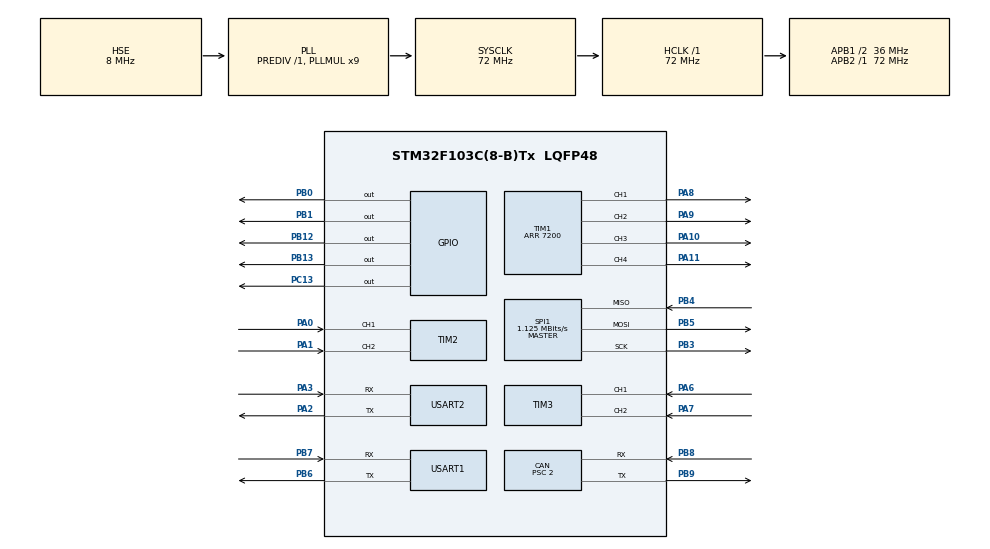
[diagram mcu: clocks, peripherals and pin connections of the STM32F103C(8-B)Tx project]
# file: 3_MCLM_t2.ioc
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CAN.ABOM=ENABLE
CAN.BS1=CAN_BS1_13TQ
CAN.BS2=CAN_BS2_4TQ
CAN.CalculateBaudRate=1000000
CAN.CalculateTimeBit=1000
CAN.CalculateTimeQuantum=55.55555555555556
CAN.NART=ENABLE
CAN.Prescaler=2
CAN.TXFP=ENABLE
Dma.Request0=USART1_RX
Dma.Request1=USART1_TX
Dma.Request2=USART2_RX
Dma.Request3=USART2_TX
Dma.USART1_RX.0.Direction=DMA_PERIPH_TO_MEMORY
Dma.USART1_RX.0.Instance=DMA1_Channel5
Dma.USART1_RX.0.MemDataAlignment=DMA_MDATAALIGN_BYTE
Dma.USART1_RX.0.MemInc=DMA_MINC_ENABLE
Dma.USART1_RX.0.Mode=DMA_NORMAL
Dma.USART1_RX.0.PeriphDataAlignment=DMA_PDATAALIGN_BYTE
Dma.USART1_RX.0.PeriphInc=DMA_PINC_DISABLE
Dma.USART1_RX.0.Priority=DMA_PRIORITY_HIGH
Dma.USART1_TX.1.Direction=DMA_MEMORY_TO_PERIPH
Dma.USART1_TX.1.Instance=DMA1_Channel4
Dma.USART1_TX.1.MemDataAlignment=DMA_MDATAALIGN_BYTE
Dma.USART1_TX.1.MemInc=DMA_MINC_ENABLE
Dma.USART1_TX.1.Mode=DMA_NORMAL
Dma.USART1_TX.1.PeriphDataAlignment=DMA_PDATAALIGN_BYTE
Dma.USART1_TX.1.PeriphInc=DMA_PINC_DISABLE
Dma.USART1_TX.1.Priority=DMA_PRIORITY_HIGH
Dma.USART2_RX.2.Direction=DMA_PERIPH_TO_MEMORY
Dma.USART2_RX.2.Instance=DMA1_Channel6
Dma.USART2_RX.2.MemDataAlignment=DMA_MDATAALIGN_BYTE
Dma.USART2_RX.2.MemInc=DMA_MINC_ENABLE
Dma.USART2_RX.2.Mode=DMA_NORMAL
Dma.USART2_RX.2.PeriphDataAlignment=DMA_PDATAALIGN_BYTE
Dma.USART2_RX.2.PeriphInc=DMA_PINC_DISABLE
Dma.USART2_RX.2.Priority=DMA_PRIORITY_MEDIUM
Dma.USART2_TX.3.Direction=DMA_MEMORY_TO_PERIPH
Dma.USART2_TX.3.Instance=DMA1_Channel7
Dma.USART2_TX.3.MemDataAlignment=DMA_MDATAALIGN_BYTE
Dma.USART2_TX.3.MemInc=DMA_MINC_ENABLE
Dma.USART2_TX.3.Mode=DMA_NORMAL
Dma.USART2_TX.3.PeriphDataAlignment=DMA_PDATAALIGN_BYTE
Dma.USART2_TX.3.PeriphInc=DMA_PINC_DISABLE
Dma.USART2_TX.3.Priority=DMA_PRIORITY_MEDIUM
FREERTOS.BinarySemaphores01=uart_rx_semaphore,Static,uart_rx_semaphoreControlBlock,Available;can_rx_semaphore,Static,can_rx_semaphoreControlBlock,Available;uart1_dma_sem,Dynamic,NULL,Available
FREERTOS.Mutexes01=motor0_mutex,Dynamic,NULL,Available;motor1_mutex,Dynamic,NULL,Available
FREERTOS.Queues01=CommandQueue,72,CommandMsg_t,0,Dynamic,NULL,NULL;MotorQueue,72,CommandMsg_t,0,Dynamic,NULL,NULL;AckQueue,64,AckMsg_t,0,Dynamic,NULL,NULL;MotorQueue1,72,CommandMsg_t,0,Dynamic,NULL,NULL;LogQueue,4,LogMotorData_t,0,Dynamic,NULL,NULL
FREERTOS.Tasks01=Heartbeat_Ta,9,64,Start_Heartbeat,Default,NULL,Static,Heartbeat_TaBuffer,Heartbeat_TaControlBlock;MotorControl_Ta,33,64,Start_MotorControl,Default,&g_motors[0],Static,MotorControl_TaBuffer,MotorControl_TaControlBlock;Encoder_Ta,34,64,Start_Encoder,Default,&g_motors[0],Static,Encoder_TaBuffer,Encoder_TaControlBlock;Logger_Ta,8,512,Start_Logger,Default,NULL,Static,Logger_TaBuffer,Logger_TaControlBlock;Command_Ta,16,128,Start_Command,Default,NULL,Static,Command_TaBuffer,Command_TaControlBlock;Ack_Ta,9,256,Start_Ack,Default,NULL,Static,Ack_TaBuffer,Ack_TaControlBlock;MotorControl1_T,33,64,Start_MotorControl1_T,Default,&g_motors[1],Static,MotorControl1_TBuffer,MotorControl1_TControlBlock;Encoder1_T,34,64,Start_Encoder1_T,Default,&g_motors[1],Static,Encoder1_TBuffer,Encoder1_TControlBlock
FREERTOS.configCHECK_FOR_STACK_OVERFLOW=2
FREERTOS.configGENERATE_RUN_TIME_STATS=1
FREERTOS.configMAX_TASK_NAME_LEN=24
FREERTOS.configMINIMAL_STACK_SIZE=64
FREERTOS.configUSE_DAEMON_TASK_STARTUP_HOOK=0
FREERTOS.configUSE_MALLOC_FAILED_HOOK=1
FREERTOS.configUSE_MINI_LIST_ITEM=0
FREERTOS.configUSE_STATS_FORMATTING_FUNCTIONS=1
Mcu.Family=STM32F1
Mcu.Name=STM32F103C(8-B)Tx
Mcu.Package=LQFP48
NVIC.DMA1_Channel4_IRQn=true\:5\:0\:false\:false\:true\:true\:false\:true\:true
NVIC.DMA1_Channel5_IRQn=true\:5\:0\:false\:false\:true\:true\:false\:true\:true
NVIC.DMA1_Channel6_IRQn=true\:5\:0\:false\:false\:true\:true\:false\:true\:true
NVIC.DMA1_Channel7_IRQn=true\:5\:0\:false\:false\:true\:true\:false\:true\:true
NVIC.PriorityGroup=NVIC_PRIORITYGROUP_4
NVIC.TIM4_IRQn=true\:15\:0\:false\:false\:true\:false\:false\:true\:true
NVIC.TimeBase=TIM4_IRQn
NVIC.TimeBaseIP=TIM4
NVIC.USART1_IRQn=true\:5\:0\:false\:false\:true\:true\:true\:true\:true
NVIC.USART2_IRQn=true\:5\:0\:false\:false\:true\:true\:true\:true\:true
NVIC.USB_LP_CAN1_RX0_IRQn=true\:5\:0\:false\:false\:true\:true\:true\:true\:true
PA0-WKUP.Signal=S_TIM2_CH1_ETR
PA1.Signal=S_TIM2_CH2
PA10.Signal=S_TIM1_CH3
PA11.Signal=S_TIM1_CH4
PA13.Mode=Serial_Wire
PA13.Signal=SYS_JTMS-SWDIO
PA14.Mode=Serial_Wire
PA14.Signal=SYS_JTCK-SWCLK
PA2.Mode=Asynchronous
PA2.Signal=USART2_TX
PA3.Mode=Asynchronous
PA3.Signal=USART2_RX
PA6.Signal=S_TIM3_CH1
PA7.Signal=S_TIM3_CH2
PA8.Signal=S_TIM1_CH1
PA9.Signal=S_TIM1_CH2
PB0.PinState=GPIO_PIN_SET
PB0.Signal=GPIO_Output
PB1.PinState=GPIO_PIN_SET
PB1.Signal=GPIO_Output
PB10.Signal=USART3_TX
PB11.Signal=USART3_RX
PB12.PinState=GPIO_PIN_SET
PB12.Signal=GPIO_Output
PB13.PinState=GPIO_PIN_SET
PB13.Signal=GPIO_Output
PB3.Mode=Full_Duplex_Master
PB3.Signal=SPI1_SCK
PB4.Mode=Full_Duplex_Master
PB4.Signal=SPI1_MISO
PB5.Mode=Full_Duplex_Master
PB5.Signal=SPI1_MOSI
PB6.Mode=Asynchronous
PB6.Signal=USART1_TX
PB7.Mode=Asynchronous
PB7.Signal=USART1_RX
PB8.Mode=CAN_Activate
PB8.Signal=CAN_RX
PB9.Mode=CAN_Activate
PB9.Signal=CAN_TX
PC13-TAMPER-RTC.Signal=GPIO_Output
PD0-OSC_IN.Mode=HSE-External-Oscillator
PD0-OSC_IN.Signal=RCC_OSC_IN
PD1-OSC_OUT.Mode=HSE-External-Oscillator
PD1-OSC_OUT.Signal=RCC_OSC_OUT
ProjectManager.HeapSize=0x200
ProjectManager.StackSize=0x800
ProjectManager.TargetToolchain=CMake
RCC.AHBFreq_Value=72000000
RCC.APB1CLKDivider=RCC_HCLK_DIV2
RCC.APB1Freq_Value=36000000
RCC.APB1TimFreq_Value=72000000
RCC.APB2Freq_Value=72000000
RCC.APB2TimFreq_Value=72000000
RCC.EnbaleCSS=true
RCC.HCLKFreq_Value=72000000
RCC.PLLMUL=RCC_PLL_MUL9
RCC.PLLSourceVirtual=RCC_PLLSOURCE_HSE
RCC.SYSCLKFreq_VALUE=72000000
RCC.SYSCLKSource=RCC_SYSCLKSOURCE_PLLCLK
RCC.USBFreq_Value=72000000
SH.S_TIM1_CH1.0=TIM1_CH1,PWM Generation1 CH1
SH.S_TIM1_CH2.0=TIM1_CH2,PWM Generation2 CH2
SH.S_TIM1_CH3.0=TIM1_CH3,PWM Generation3 CH3
SH.S_TIM1_CH4.0=TIM1_CH4,PWM Generation4 CH4
SH.S_TIM2_CH1_ETR.0=TIM2_CH1,Encoder_Interface
SH.S_TIM2_CH2.0=TIM2_CH2,Encoder_Interface
SH.S_TIM3_CH1.0=TIM3_CH1,Encoder_Interface
SH.S_TIM3_CH2.0=TIM3_CH2,Encoder_Interface
SPI1.BaudRatePrescaler=SPI_BAUDRATEPRESCALER_64
SPI1.CLKPhase=SPI_PHASE_2EDGE
SPI1.CalculateBaudRate=1.125 MBits/s
SPI1.Direction=SPI_DIRECTION_2LINES
SPI1.Mode=SPI_MODE_MASTER
SPI1.VirtualType=VM_MASTER
TIM1.Channel-PWM\ Generation1\ CH1=TIM_CHANNEL_1
TIM1.Channel-PWM\ Generation2\ CH2=TIM_CHANNEL_2
TIM1.Channel-PWM\ Generation3\ CH3=TIM_CHANNEL_3
TIM1.Channel-PWM\ Generation4\ CH4=TIM_CHANNEL_4
TIM1.Period=7200
TIM2.EncoderMode=TIM_ENCODERMODE_TI12
TIM2.IC1Filter=8
TIM2.IC2Filter=8
TIM3.EncoderMode=TIM_ENCODERMODE_TI12
TIM3.IC1Filter=8
TIM3.IC2Filter=8
USART1.VirtualMode=VM_ASYNC
USART2.VirtualMode=VM_ASYNC
VP_FREERTOS_VS_CMSIS_V2.Mode=CMSIS_V2
VP_SYS_VS_tim4.Mode=TIM4
board=custom

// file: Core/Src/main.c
/* USER CODE BEGIN Header */
/**
  ******************************************************************************
  * @file           : main.c
  * @brief          : Main program body
  ******************************************************************************
  * @attention
  *
  * Copyright (c) 2026 STMicroelectronics.
  * All rights reserved.
  *
  * This software is licensed under terms that can be found in the LICENSE file
  * in the root directory of this software component.
  * If no LICENSE file comes with this software, it is provided AS-IS.
  *
  ******************************************************************************
  */
/* USER CODE END Header */
#include "main.h"
#include "cmsis_os.h"
#include "can.h"
#include "dma.h"
#include "spi.h"
#include "tim.h"
#include "usart.h"
#include "gpio.h"

void SystemClock_Config(void);
void MX_FREERTOS_Init(void);

int main(void)
{

  /* MCU Configuration--------------------------------------------------------*/

  /* Reset of all peripherals, Initializes the Flash interface and the Systick. */
  HAL_Init();

  /* Configure the system clock */
  SystemClock_Config();

  /* Initialize all configured peripherals */
  MX_GPIO_Init();
  MX_DMA_Init();
  MX_CAN_Init();
  MX_USART1_UART_Init();
  MX_USART2_UART_Init();
  MX_TIM2_Init();
  MX_TIM3_Init();
  MX_TIM1_Init();
  MX_SPI1_Init();

  /* Init scheduler */
  osKernelInitialize();  /* Call init function for freertos objects (in cmsis_os2.c) */
  MX_FREERTOS_Init();

  /* Start scheduler */
  osKernelStart();

  /* We should never get here as control is now taken by the scheduler */

  /* Infinite loop */
  while (1)
  {

  }
}

void SystemClock_Config(void)
{
  RCC_OscInitTypeDef RCC_OscInitStruct = {0};
  RCC_ClkInitTypeDef RCC_ClkInitStruct = {0};

  /** Initializes the RCC Oscillators according to the specified parameters
  * in the RCC_OscInitTypeDef structure.
  */
  RCC_OscInitStruct.OscillatorType = RCC_OSCILLATORTYPE_HSE;
  RCC_OscInitStruct.HSEState = RCC_HSE_ON;
  RCC_OscInitStruct.HSEPredivValue = RCC_HSE_PREDIV_DIV1;
  RCC_OscInitStruct.HSIState = RCC_HSI_ON;
  RCC_OscInitStruct.PLL.PLLState = RCC_PLL_ON;
  RCC_OscInitStruct.PLL.PLLSource = RCC_PLLSOURCE_HSE;
  RCC_OscInitStruct.PLL.PLLMUL = RCC_PLL_MUL9;
  if (HAL_RCC_OscConfig(&RCC_OscInitStruct) != HAL_OK)
  {
    Error_Handler();
  }

  /** Initializes the CPU, AHB and APB buses clocks
  */
  RCC_ClkInitStruct.ClockType = RCC_CLOCKTYPE_HCLK|RCC_CLOCKTYPE_SYSCLK
                              |RCC_CLOCKTYPE_PCLK1|RCC_CLOCKTYPE_PCLK2;
  RCC_ClkInitStruct.SYSCLKSource = RCC_SYSCLKSOURCE_PLLCLK;
  RCC_ClkInitStruct.AHBCLKDivider = RCC_SYSCLK_DIV1;
  RCC_ClkInitStruct.APB1CLKDivider = RCC_HCLK_DIV2;
  RCC_ClkInitStruct.APB2CLKDivider = RCC_HCLK_DIV1;

  if (HAL_RCC_ClockConfig(&RCC_ClkInitStruct, FLASH_LATENCY_2) != HAL_OK)
  {
    Error_Handler();
  }

  /** Enables the Clock Security System
  */
  HAL_RCC_EnableCSS();
}

void HAL_TIM_PeriodElapsedCallback(TIM_HandleTypeDef *htim)
{
  if (htim->Instance == TIM4)
  {
    HAL_IncTick();
  }
}

void Error_Handler(void)
{
  __disable_irq();
  while (1)
  {
  }
}

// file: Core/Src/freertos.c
/* USER CODE BEGIN Header */
/**
  ******************************************************************************
  * File Name          : freertos.c
  * Description        : Code for freertos applications
  ******************************************************************************
  * @attention
  *
  * Copyright (c) 2026 STMicroelectronics.
  * All rights reserved.
  *
  * This software is licensed under terms that can be found in the LICENSE file
  * in the root directory of this software component.
  * If no LICENSE file comes with this software, it is provided AS-IS.
  *
  ******************************************************************************
  */
/* USER CODE END Header */

#include "FreeRTOS.h"
#include "task.h"
#include "main.h"
#include "cmsis_os.h"

/* USER CODE BEGIN Includes */

#include "app_task.h"
#include "app_globals.h"
#include "command.h"
#include "app_config.h"

/* USER CODE END Includes */

typedef StaticTask_t osStaticThreadDef_t;
typedef StaticSemaphore_t osStaticSemaphoreDef_t;

/* Definitions for Heartbeat_Ta */
osThreadId_t Heartbeat_TaHandle;
uint32_t Heartbeat_TaBuffer[ 64 ];
osStaticThreadDef_t Heartbeat_TaControlBlock;
const osThreadAttr_t Heartbeat_Ta_attributes = {
  .name = "Heartbeat_Ta",
  .cb_mem = &Heartbeat_TaControlBlock,
  .cb_size = sizeof(Heartbeat_TaControlBlock),
  .stack_mem = &Heartbeat_TaBuffer[0],
  .stack_size = sizeof(Heartbeat_TaBuffer),
  .priority = (osPriority_t) osPriorityLow1,
};
/* Definitions for MotorControl_Ta */
osThreadId_t MotorControl_TaHandle;
uint32_t MotorControl_TaBuffer[ 64 ];
osStaticThreadDef_t MotorControl_TaControlBlock;
const osThreadAttr_t MotorControl_Ta_attributes = {
  .name = "MotorControl_Ta",
  .cb_mem = &MotorControl_TaControlBlock,
  .cb_size = sizeof(MotorControl_TaControlBlock),
  .stack_mem = &MotorControl_TaBuffer[0],
  .stack_size = sizeof(MotorControl_TaBuffer),
  .priority = (osPriority_t) osPriorityAboveNormal1,
};
/* Definitions for Encoder_Ta */
osThreadId_t Encoder_TaHandle;
uint32_t Encoder_TaBuffer[ 64 ];
osStaticThreadDef_t Encoder_TaControlBlock;
const osThreadAttr_t Encoder_Ta_attributes = {
  .name = "Encoder_Ta",
  .cb_mem = &Encoder_TaControlBlock,
  .cb_size = sizeof(Encoder_TaControlBlock),
  .stack_mem = &Encoder_TaBuffer[0],
  .stack_size = sizeof(Encoder_TaBuffer),
  .priority = (osPriority_t) osPriorityAboveNormal2,
};
/* Definitions for Logger_Ta */
osThreadId_t Logger_TaHandle;
uint32_t Logger_TaBuffer[ 512 ];
osStaticThreadDef_t Logger_TaControlBlock;
const osThreadAttr_t Logger_Ta_attributes = {
  .name = "Logger_Ta",
  .cb_mem = &Logger_TaControlBlock,
  .cb_size = sizeof(Logger_TaControlBlock),
  .stack_mem = &Logger_TaBuffer[0],
  .stack_size = sizeof(Logger_TaBuffer),
  .priority = (osPriority_t) osPriorityLow,
};
/* Definitions for Command_Ta */
osThreadId_t Command_TaHandle;
uint32_t Command_TaBuffer[ 128 ];
osStaticThreadDef_t Command_TaControlBlock;
const osThreadAttr_t Command_Ta_attributes = {
  .name = "Command_Ta",
  .cb_mem = &Command_TaControlBlock,
  .cb_size = sizeof(Command_TaControlBlock),
  .stack_mem = &Command_TaBuffer[0],
  .stack_size = sizeof(Command_TaBuffer),
  .priority = (osPriority_t) osPriorityBelowNormal,
};
/* Definitions for Ack_Ta */
osThreadId_t Ack_TaHandle;
uint32_t Ack_TaBuffer[ 256 ];
osStaticThreadDef_t Ack_TaControlBlock;
const osThreadAttr_t Ack_Ta_attributes = {
  .name = "Ack_Ta",
  .cb_mem = &Ack_TaControlBlock,
  .cb_size = sizeof(Ack_TaControlBlock),
  .stack_mem = &Ack_TaBuffer[0],
  .stack_size = sizeof(Ack_TaBuffer),
  .priority = (osPriority_t) osPriorityLow1,
};
/* Definitions for MotorControl1_T */
osThreadId_t MotorControl1_THandle;
uint32_t MotorControl1_TBuffer[ 64 ];
osStaticThreadDef_t MotorControl1_TControlBlock;
const osThreadAttr_t MotorControl1_T_attributes = {
  .name = "MotorControl1_T",
  .cb_mem = &MotorControl1_TControlBlock,
  .cb_size = sizeof(MotorControl1_TControlBlock),
  .stack_mem = &MotorControl1_TBuffer[0],
  .stack_size = sizeof(MotorControl1_TBuffer),
  .priority = (osPriority_t) osPriorityAboveNormal1,
};
/* Definitions for Encoder1_T */
osThreadId_t Encoder1_THandle;
uint32_t Encoder1_TBuffer[ 64 ];
osStaticThreadDef_t Encoder1_TControlBlock;
const osThreadAttr_t Encoder1_T_attributes = {
  .name = "Encoder1_T",
  .cb_mem = &Encoder1_TControlBlock,
  .cb_size = sizeof(Encoder1_TControlBlock),
  .stack_mem = &Encoder1_TBuffer[0],
  .stack_size = sizeof(Encoder1_TBuffer),
  .priority = (osPriority_t) osPriorityAboveNormal2,
};
/* Definitions for CommandQueue */
osMessageQueueId_t CommandQueueHandle;
const osMessageQueueAttr_t CommandQueue_attributes = {
  .name = "CommandQueue"
};
/* Definitions for MotorQueue */
osMessageQueueId_t MotorQueueHandle;
const osMessageQueueAttr_t MotorQueue_attributes = {
  .name = "MotorQueue"
};
/* Definitions for AckQueue */
osMessageQueueId_t AckQueueHandle;
const osMessageQueueAttr_t AckQueue_attributes = {
  .name = "AckQueue"
};
/* Definitions for MotorQueue1 */
osMessageQueueId_t MotorQueue1Handle;
const osMessageQueueAttr_t MotorQueue1_attributes = {
  .name = "MotorQueue1"
};
/* Definitions for LogQueue */
osMessageQueueId_t LogQueueHandle;
const osMessageQueueAttr_t LogQueue_attributes = {
  .name = "LogQueue"
};
/* Definitions for motor0_mutex */
osMutexId_t motor0_mutexHandle;
const osMutexAttr_t motor0_mutex_attributes = {
  .name = "motor0_mutex"
};
/* Definitions for motor1_mutex */
osMutexId_t motor1_mutexHandle;
const osMutexAttr_t motor1_mutex_attributes = {
  .name = "motor1_mutex"
};
/* Definitions for uart_rx_semaphore */
osSemaphoreId_t uart_rx_semaphoreHandle;
osStaticSemaphoreDef_t uart_rx_semaphoreControlBlock;
const osSemaphoreAttr_t uart_rx_semaphore_attributes = {
  .name = "uart_rx_semaphore",
  .cb_mem = &uart_rx_semaphoreControlBlock,
  .cb_size = sizeof(uart_rx_semaphoreControlBlock),
};
/* Definitions for can_rx_semaphore */
osSemaphoreId_t can_rx_semaphoreHandle;
osStaticSemaphoreDef_t can_rx_semaphoreControlBlock;
const osSemaphoreAttr_t can_rx_semaphore_attributes = {
  .name = "can_rx_semaphore",
  .cb_mem = &can_rx_semaphoreControlBlock,
  .cb_size = sizeof(can_rx_semaphoreControlBlock),
};
/* Definitions for uart1_dma_sem */
osSemaphoreId_t uart1_dma_semHandle;
const osSemaphoreAttr_t uart1_dma_sem_attributes = {
  .name = "uart1_dma_sem"
};

void Start_Heartbeat(void *argument);
void Start_MotorControl(void *argument);
void Start_Encoder(void *argument);
void Start_Logger(void *argument);
void Start_Command(void *argument);
void Start_Ack(void *argument);
void Start_MotorControl1_T(void *argument);
void Start_Encoder1_T(void *argument);

void MX_FREERTOS_Init(void); /* (MISRA C 2004 rule 8.1) */

/* Hook prototypes */
void configureTimerForRunTimeStats(void);
unsigned long getRunTimeCounterValue(void);
void vApplicationStackOverflowHook(xTaskHandle xTask, signed char *pcTaskName);
void vApplicationMallocFailedHook(void);

/* USER CODE BEGIN 1 */
/* Functions needed when configGENERATE_RUN_TIME_STATS is on */
__weak void configureTimerForRunTimeStats(void)
{

}

__weak unsigned long getRunTimeCounterValue(void)
{
return 0;
}
/* USER CODE END 1 */

/* USER CODE BEGIN 4 */
void vApplicationStackOverflowHook(xTaskHandle xTask, signed char *pcTaskName)
{
   /* Run time stack overflow checking is performed if
   configCHECK_FOR_STACK_OVERFLOW is defined to 1 or 2. This hook function is
   called if a stack overflow is detected. */
}
/* USER CODE END 4 */

/* USER CODE BEGIN 5 */
void vApplicationMallocFailedHook(void)
{
   /* vApplicationMallocFailedHook() will only be called if
   configUSE_MALLOC_FAILED_HOOK is set to 1 in FreeRTOSConfig.h. It is a hook
   function that will get called if a call to pvPortMalloc() fails.
   pvPortMalloc() is called internally by the kernel whenever a task, queue,
   timer or semaphore is created. It is also called by various parts of the
   demo application. If heap_1.c or heap_2.c are used, then the size of the
   heap available to pvPortMalloc() is defined by configTOTAL_HEAP_SIZE in
   FreeRTOSConfig.h, and the xPortGetFreeHeapSize() API function can be used
   to query the size of free heap space that remains (although it does not
   provide information on how the remaining heap might be fragmented). */
}
/* USER CODE END 5 */

void MX_FREERTOS_Init(void) {
  /* Create the mutex(es) */
  /* creation of motor0_mutex */
  motor0_mutexHandle = osMutexNew(&motor0_mutex_attributes);

  /* creation of motor1_mutex */
  motor1_mutexHandle = osMutexNew(&motor1_mutex_attributes);

  /* Create the semaphores(s) */
  /* creation of uart_rx_semaphore */
  uart_rx_semaphoreHandle = osSemaphoreNew(1, 1, &uart_rx_semaphore_attributes);

  /* creation of can_rx_semaphore */
  can_rx_semaphoreHandle = osSemaphoreNew(1, 1, &can_rx_semaphore_attributes);

  /* creation of uart1_dma_sem */
  uart1_dma_semHandle = osSemaphoreNew(1, 1, &uart1_dma_sem_attributes);

  /* Create the queue(s) */
  /* creation of CommandQueue */
  CommandQueueHandle = osMessageQueueNew (72, sizeof(CommandMsg_t), &CommandQueue_attributes);

  /* creation of MotorQueue */
  MotorQueueHandle = osMessageQueueNew (72, sizeof(CommandMsg_t), &MotorQueue_attributes);

  /* creation of AckQueue */
  AckQueueHandle = osMessageQueueNew (64, sizeof(AckMsg_t), &AckQueue_attributes);

  /* creation of MotorQueue1 */
  MotorQueue1Handle = osMessageQueueNew (72, sizeof(CommandMsg_t), &MotorQueue1_attributes);

  /* creation of LogQueue */
  LogQueueHandle = osMessageQueueNew (4, sizeof(LogMotorData_t), &LogQueue_attributes);

  /* Create the thread(s) */
  /* creation of Heartbeat_Ta */
  Heartbeat_TaHandle = osThreadNew(Start_Heartbeat, NULL, &Heartbeat_Ta_attributes);

  /* creation of MotorControl_Ta */
  MotorControl_TaHandle = osThreadNew(Start_MotorControl, (void*) &g_motors[0], &MotorControl_Ta_attributes);

  /* creation of Encoder_Ta */
  Encoder_TaHandle = osThreadNew(Start_Encoder, (void*) &g_motors[0], &Encoder_Ta_attributes);

  /* creation of Logger_Ta */
  Logger_TaHandle = osThreadNew(Start_Logger, NULL, &Logger_Ta_attributes);

  /* creation of Command_Ta */
  Command_TaHandle = osThreadNew(Start_Command, NULL, &Command_Ta_attributes);

  /* creation of Ack_Ta */
  Ack_TaHandle = osThreadNew(Start_Ack, NULL, &Ack_Ta_attributes);

  /* creation of MotorControl1_T */
  MotorControl1_THandle = osThreadNew(Start_MotorControl1_T, (void*) &g_motors[1], &MotorControl1_T_attributes);

  /* creation of Encoder1_T */
  Encoder1_THandle = osThreadNew(Start_Encoder1_T, (void*) &g_motors[1], &Encoder1_T_attributes);

}

void Start_Heartbeat(void *argument)
{
  /* USER CODE BEGIN Start_Heartbeat */
  /* Infinite loop */

  Heartbeat_Task(argument);

  // for(;;)
  // {
  //   osDelay(1);
  // }
  /* USER CODE END Start_Heartbeat */
}

void Start_MotorControl(void *argument)
{
  /* USER CODE BEGIN Start_MotorControl */
  /* Infinite loop */

  #if MOTOR1_DRIVER == MOTOR_DRIVER_TB6612
  TB6612_DC_Task(argument);
  #elif MOTOR1_DRIVER == MOTOR_DRIVER_IBT4
  IBT4_DC_Task(argument);
  #else

  #error "No valid driver selected for motor1! Check MOTOR1_DRIVER"

  #endif

  // for(;;)
  // {
  //   osDelay(1);
  // }
  /* USER CODE END Start_MotorControl */
}

void Start_Encoder(void *argument)
{
  /* USER CODE BEGIN Start_Encoder */
  /* Infinite loop */

  Encoder_Task(argument);

  // for(;;)
  // {
  //   osDelay(1);
  // }
  /* USER CODE END Start_Encoder */
}

void Start_Logger(void *argument)
{
  /* USER CODE BEGIN Start_Logger */
  /* Infinite loop */

  Logger_Task(argument);

  // for(;;)
  // {
  //   osDelay(1);
  // }
  /* USER CODE END Start_Logger */
}

void Start_Command(void *argument)
{
  /* USER CODE BEGIN Start_Command */
  /* Infinite loop */

  Command_Task(argument);

  // for(;;)
  // {
  //   osDelay(1);
  // }
  /* USER CODE END Start_Command */
}

void Start_Ack(void *argument)
{
  /* USER CODE BEGIN Start_Ack */
  /* Infinite loop */

  Ack_Task(argument);

  // for(;;)
  // {
  //   osDelay(1);
  // }
  /* USER CODE END Start_Ack */
}

void Start_MotorControl1_T(void *argument)
{
  /* USER CODE BEGIN Start_MotorControl1_T */
  #if (MOTOR2_DRIVER == MOTOR_DRIVER_IBT4)
  IBT4_DC_Task(argument);
  #elif (MOTOR2_DRIVER == MOTOR_DRIVER_TB6612)
  TB6612_DC_Task(argument);
  #else
  #error "No valid driver selected for motor2! Check MOTOR2_DRIVER"
  #endif
  /* USER CODE END Start_MotorControl1_T */
}

void Start_Encoder1_T(void *argument)
{
  /* USER CODE BEGIN Start_Encoder1_T */
  Encoder_Task(argument);
  /* USER CODE END Start_Encoder1_T */
}
